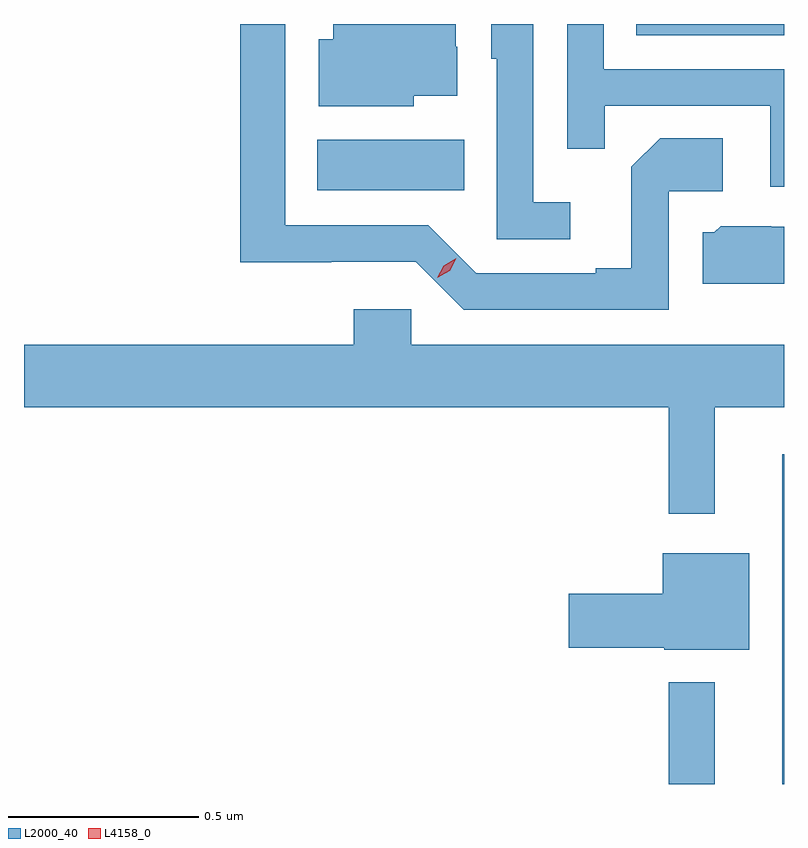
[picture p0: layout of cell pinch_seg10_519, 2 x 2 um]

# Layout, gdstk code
import gdstk
lib = gdstk.Library(unit=1e-6, precision=1e-09)
def R(c, l, rs):  # rectangles x0, y0, x1, y1
    for r in rs: c.add(gdstk.rectangle(r[:2], r[2:], *l))
def P(c, l, *ps):  # polygons
    for p in ps: c.add(gdstk.Polygon(p, *l))
L2000_40 = (2000, 40)
L4158_0 = (4158, 0)

pinch_seg10_519 = lib.new_cell('pinch_seg10_519')
R(pinch_seg10_519, L2000_40, [(388.71,1290,388.831,1290.268), (389.009,1290,389.013,1290.868), (387.785,1291.562,388.172,1291.696), (388.624,1291.97,389.013,1292)])
P(pinch_seg10_519, L2000_40, [(388.038,1291.811),(388.153,1291.811),(388.153,1291.94),(388.149,1291.94),(388.149,1292),(387.827,1292),(387.827,1291.96),(387.788,1291.96),(387.788,1291.784),(388.038,1291.784)],
  [(389.013,1291.881),(388.539,1291.881),(388.539,1292),(388.443,1292),(388.443,1291.672),(388.541,1291.672),(388.541,1291.785),(388.977,1291.785),(388.977,1291.572),(389.013,1291.572)],
  [(388.45,1291.531),(388.353,1291.531),(388.353,1292),(388.242,1292),(388.242,1291.908),(388.257,1291.908),(388.257,1291.434),(388.45,1291.434)],
  [(388.71,1291.56),(388.852,1291.56),(388.852,1291.7),(388.687,1291.7),(388.611,1291.624),(388.611,1291.357),(388.517,1291.357),(388.517,1291.344),(388.203,1291.344),(388.077,1291.47),(387.7,1291.47),(387.7,1292),(387.582,1292),(387.582,1291.373),(387.822,1291.373),(387.822,1291.374),(388.044,1291.374),(388.17,1291.248),(388.71,1291.248)],
  [(389.013,1291.467),(388.98,1291.467),(388.98,1291.468),(388.846,1291.468),(388.83,1291.452),(388.799,1291.452),(388.799,1291.316),(389.013,1291.316)],
  [(388.831,1290.992),(389.013,1290.992),(389.013,1291.156),(388.032,1291.156),(388.032,1291.249),(387.881,1291.249),(387.881,1291.156),(387.013,1291.156),(387.013,1290.992),(388.71,1290.992),(388.71,1290.711),(388.831,1290.711)],
  [(388.921,1290.607),(388.694,1290.607),(388.694,1290.501),(388.446,1290.501),(388.446,1290.359),(388.698,1290.359),(388.698,1290.353),(388.921,1290.353)])
P(pinch_seg10_519, L4158_0, [(388.101,1291.332),(388.101,1291.332),(388.118,1291.364),(388.15,1291.384),(388.15,1291.384),(388.15,1291.383),(388.133,1291.351),(388.101,1291.332)])

lib.write_gds('pinch_seg10_519.gds')
